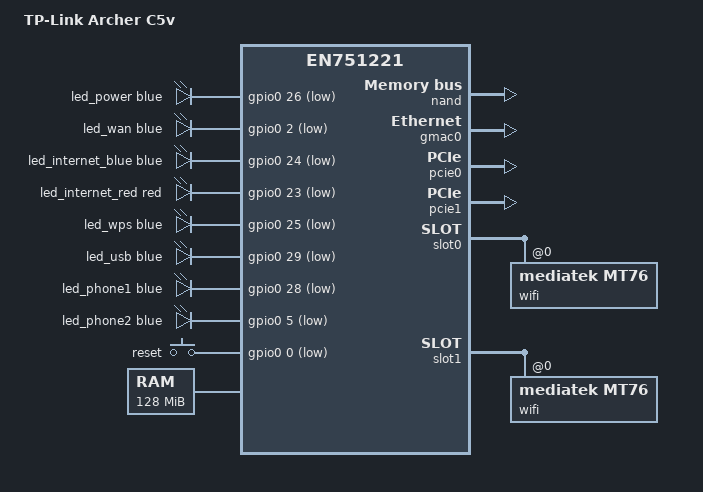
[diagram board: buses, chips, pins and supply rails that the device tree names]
// SPDX-License-Identifier: (GPL-2.0-only OR BSD-2-Clause)
/dts-v1/;
#include "en751221.dtsi"
#include <dt-bindings/gpio/gpio.h>
#include <dt-bindings/input/input.h>
#include <dt-bindings/leds/common.h>
/ {
	model = "TP-Link Archer C5v";
	compatible = "tplink,archer-c5v", "econet,en751221";

	aliases {
		led-boot = &led_power;
		led-failsafe = &led_power;
		led-running = &led_power;
		led-upgrade = &led_power;
	};

	leds {
		compatible = "gpio-leds";

		/*
		 * GPIO map verified on hardware with a GPIO-probe script
		 * (toggle each line, observe the front panel). All lines are
		 * active-low, matching TP-Link's usual convention.
		 * There is no 2.4/5 GHz Wi-Fi LED node here: those are not SoC
		 * GPIOs, they hang off the mt76 Wi-Fi chips themselves (see
		 * the led sub-nodes under &slot0 / &slot1 below).
		 */
		led_power: power {
			color = <LED_COLOR_ID_BLUE>;
			function = LED_FUNCTION_POWER;
			gpios = <&gpio0 26 GPIO_ACTIVE_LOW>;
		};

		led_wan: wan {
			color = <LED_COLOR_ID_BLUE>;
			function = LED_FUNCTION_WAN;
			gpios = <&gpio0 2 GPIO_ACTIVE_LOW>;
		};

		/* Two-color internet LED: blue when online, red when not.
		 * The color switch is driven from userspace (an internet-led
		 * hotplug script hooked to interface up/down events). */
		led_internet_blue: internet-blue {
			color = <LED_COLOR_ID_BLUE>;
			function = LED_FUNCTION_WAN_ONLINE;
			gpios = <&gpio0 24 GPIO_ACTIVE_LOW>;
		};

		led_internet_red: internet-red {
			color = <LED_COLOR_ID_RED>;
			function = LED_FUNCTION_WAN;
			gpios = <&gpio0 23 GPIO_ACTIVE_LOW>;
		};

		led_wps: wps {
			color = <LED_COLOR_ID_BLUE>;
			function = LED_FUNCTION_WPS;
			gpios = <&gpio0 25 GPIO_ACTIVE_LOW>;
		};

		led_usb: usb {
			color = <LED_COLOR_ID_BLUE>;
			function = LED_FUNCTION_USB;
			gpios = <&gpio0 29 GPIO_ACTIVE_LOW>;
			/* An "usbport" trigger can be added via uci after flashing. */
		};

		led_phone1: phone1 {
			color = <LED_COLOR_ID_BLUE>;
			function = "phone";
			function-enumerator = <1>;
			gpios = <&gpio0 28 GPIO_ACTIVE_LOW>;
		};

		led_phone2: phone2 {
			color = <LED_COLOR_ID_BLUE>;
			function = "phone";
			function-enumerator = <2>;
			gpios = <&gpio0 5 GPIO_ACTIVE_LOW>;
		};
	};

	keys {
		compatible = "gpio-keys-polled";
		poll-interval = <20>;

		/*
		 * Button GPIOs and polarities were verified on hardware:
		 *   reset: gpio0 0,  active-low  (idle high, stable)
		 *   wifi:  gpio0 19, active-high (idle low, stable) -- removed, see below
		 *
		 * The WPS button (gpio0 3) is deliberately left out: that pin
		 * floats when idle (mostly reads low, occasionally a spurious
		 * high, roughly 1 in 10 samples). Wired up as active-high this
		 * produces an intermittent phantom KEY_WPS_BUTTON press, and
		 * any button press seen during the preinit failsafe window
		 * drops the device into failsafe mode at random on boot with
		 * no serial console needed to trigger it. The WPS button has
		 * no functional requirement here, so it was removed rather
		 * than worked around; re-adding it would need a stable pull
		 * on that pin in hardware.
		 *
		 * The Wi-Fi/RFKILL button (gpio0 19) is also left out: the pin
		 * itself is stable (not floating), but /etc/rc.button/rfkill
		 * runs "uci commit wireless" when toggling the radio off,
		 * which means a single accidental press permanently disables
		 * Wi-Fi (it stays off across reboots, and a non-technical user
		 * just sees "my Wi-Fi is gone"). This button was disabled to
		 * avoid that failure mode. To re-enable it, uncomment the
		 * key-wifi node below (verified stable on hardware: gpio0 19
		 * idles low).
		 */
		key-reset {
			label = "reset";
			gpios = <&gpio0 0 GPIO_ACTIVE_LOW>;
			linux,code = <KEY_RESTART>;
		};

		/* Uncomment to re-enable (see the note above):
		key-wifi {
			label = "wifi";
			gpios = <&gpio0 19 GPIO_ACTIVE_HIGH>;
			linux,code = <KEY_RFKILL>;
		};
		*/
	};
	memory@0 {
		device_type = "memory";
		reg = <0x00000000 0x8000000>;
	};
	chosen {
		stdout-path = "/serial@1fbf0000:115200";
		linux,usable-memory-range = <0x00020000 0x07fe0000>;
		bootargs = "ubi.mtd=ubi";
	};

	reserved-memory {
		#address-cells = <1>;
		#size-cells = <1>;
		ranges;

		/* Crash log storage surviving warm reboots (pstore/ramoops).
		 * Top 256 KiB of the 128 MiB DRAM: 4x32K oops/panic dumps,
		 * 96K console ring, 32K pmsg.
		 */
		ramoops@7fc0000 {
			compatible = "ramoops";
			reg = <0x07fc0000 0x40000>;
			record-size = <0x8000>;
			console-size = <0x18000>;
			pmsg-size = <0x8000>;
		};
	};
};
&nand {
	status = "okay";
	econet,bmt;

	partitions {
		compatible = "fixed-partitions";
		#address-cells = <1>;
		#size-cells = <1>;

		/*
		 * UBI layout. The vendor bootloader reads the kernel slot raw
		 * from 0x20000 (TP-Link v2 header + LZMA kernel), so the
		 * kernel stays a plain BMT partition. Everything from
		 * 0x420000 up to romfile is a single UBI partition holding
		 * the squashfs rootfs + ubifs overlay volumes; the stock
		 * second slot (kernel_2/rootfs_2) is folded into it. The UBI
		 * partition deliberately has no econet,enable-remap so UBI
		 * does its own bad-block management; en75_bmt (econet,bmt)
		 * only applies the existing factory bad-block map, which is
		 * safe here.
		 *
		 *   0x000000-0x020000  boot
		 *   0x020000-0x420000  kernel  (4 MB, raw, tplink-v2-header + LZMA)
		 *   0x420000-0x6420000 ubi     (96 MB)
		 *   0x6420000-0x6440000 romfile
		 *   0x6440000-0x6460000 config
		 *   0x6460000-0x6480000 radio  (Wi-Fi calibration)
		 *   0x6480000-0x7340000 reserve_area (holds the BMT)
		 */
		partition@0 {
			label = "boot";
			reg = <0x0 0x20000>;
			read-only;
		};

		partition@20000 {
			label = "kernel";
			reg = <0x20000 0x400000>;
		};

		partition@420000 {
			label = "ubi";
			reg = <0x420000 0x6000000>;
		};

		partition@6420000 {
			label = "romfile";
			reg = <0x6420000 0x20000>;
			read-only;

			nvmem-layout {
				compatible = "fixed-layout";
				#address-cells = <1>;
				#size-cells = <1>;

				/* Base MAC; the label MAC (LAN) is base + 2. */
				macaddr_romfile_f100: macaddr@f100 {
					compatible = "mac-base";
					reg = <0xf100 0x6>;
					#nvmem-cell-cells = <1>;
				};
			};
		};

		partition@6440000 {
			label = "config";
			reg = <0x6440000 0x20000>;
		};

		radio: partition@6460000 {
			label = "radio";
			reg = <0x6460000 0x20000>;
			read-only;
		};

		partition@6480000 {
			label = "reserve_area";
			reg = <0x6480000 0xec0000>;
			read-only;
		};
	};
};
&gmac0 {
	status = "okay";
	nvmem-cells = <&macaddr_romfile_f100 2>;
	nvmem-cell-names = "mac-address";
};

&ethernet {
	econet,mt7530-vlan-split;
	econet,mt7530-cpu-port = <6>;
	econet,mt7530-lan-ports = <0 1 2 3>;
	econet,mt7530-lan-vid = <1>;
	econet,mt7530-wan-port = <4>;
	econet,mt7530-wan-vid = <35>;
};
&pcie0 {
	status = "okay";
};
&pcie1 {
	status = "okay";
};

/* MT7603 2.4 GHz, calibration at radio partition offset 0x0 */
&slot0 {
	wifi@0,0 {
		compatible = "mediatek,mt76";
		reg = <0x0000 0 0 0 0>;
		mediatek,mtd-eeprom = <&radio 0x0>;
		nvmem-cells = <&macaddr_romfile_f100 0>;
		nvmem-cell-names = "mac-address";

		/* Front-panel 2.4 GHz LED: mt7603 chip LED pin 0 (default),
		 * active-low (verified on hardware: brightness=255 turned it
		 * off, 0 turned it on). */
		led {
			led-active-low;
		};
	};
};

/* MT7612EN 5 GHz (mt76x2e), calibration at radio partition offset 0x8000 */
&slot1 {
	wifi@0,0 {
		compatible = "mediatek,mt76";
		reg = <0x0000 0 0 0 0>;
		mediatek,mtd-eeprom = <&radio 0x8000>;
		nvmem-cells = <&macaddr_romfile_f100 1>;
		nvmem-cell-names = "mac-address";

		/* Front-panel 5 GHz LED: mt76x2 chip LED pin 2, active-low
		 * (found by sweeping LED pin/polarity combinations against
		 * the chip's LED register until the front panel LED lit). */
		led {
			led-sources = <2>;
			led-active-low;
		};
	};
};
